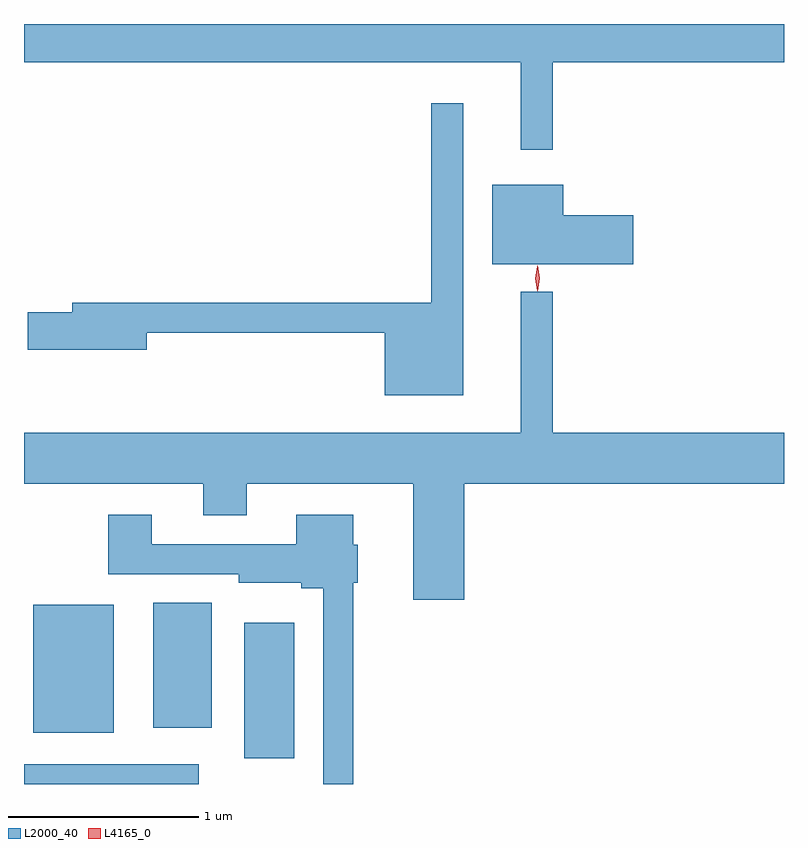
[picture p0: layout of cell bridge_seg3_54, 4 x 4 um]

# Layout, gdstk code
import gdstk
lib = gdstk.Library(unit=1e-6, precision=1e-09)
def R(c, l, rs):  # rectangles x0, y0, x1, y1
    for r in rs: c.add(gdstk.rectangle(r[:2], r[2:], *l))
def P(c, l, *ps):  # polygons
    for p in ps: c.add(gdstk.Polygon(p, *l))
L2000_40 = (2000, 40)
L4165_0 = (4165, 0)

bridge_seg3_54 = lib.new_cell('bridge_seg3_54')
R(bridge_seg3_54, L2000_40, [(1172.067,1206.576,1172.988,1206.679), (1173.226,1206.711,1173.489,1207.424), (1172.116,1206.846,1172.539,1207.519), (1172.746,1206.871,1173.054,1207.529)])
P(bridge_seg3_54, L2000_40, [(1174.849,1210.376),(1176.067,1210.376),(1176.067,1210.576),(1172.067,1210.576),(1172.067,1210.376),(1174.681,1210.376),(1174.681,1209.913),(1174.849,1209.913)],
  [(1174.379,1210.158),(1174.211,1210.158),(1174.211,1209.109),(1172.321,1209.109),(1172.321,1209.059),(1172.086,1209.059),(1172.086,1208.861),(1172.714,1208.861),(1172.714,1208.951),(1173.966,1208.951),(1173.966,1208.621),(1174.379,1208.621)],
  [(1175.274,1209.569),(1174.904,1209.569),(1174.904,1209.729),(1174.531,1209.729),(1174.531,1209.311),(1175.274,1209.311)],
  [(1174.384,1208.156),(1176.067,1208.156),(1176.067,1208.424),(1174.849,1208.424),(1174.849,1209.168),(1174.681,1209.168),(1174.681,1208.424),(1172.067,1208.424),(1172.067,1208.156),(1173.011,1208.156),(1173.011,1207.991),(1173.239,1207.991),(1173.239,1208.156),(1174.116,1208.156),(1174.116,1207.546),(1174.384,1207.546)],
  [(1173.799,1207.636),(1173.824,1207.636),(1173.824,1207.834),(1173.799,1207.834),(1173.799,1207.994),(1173.501,1207.994),(1173.501,1207.839),(1172.739,1207.839),(1172.739,1207.994),(1172.511,1207.994),(1172.511,1207.681),(1173.196,1207.681),(1173.196,1207.636),(1173.526,1207.636),(1173.526,1207.606),(1173.641,1207.606),(1173.641,1206.576),(1173.799,1206.576)])
P(bridge_seg3_54, L4165_0, [(1174.772,1209.17),(1174.772,1209.17),(1174.762,1209.238),(1174.772,1209.305),(1174.772,1209.306),(1174.772,1209.305),(1174.782,1209.238),(1174.772,1209.17)],
  [(1174.768,1209.173),(1174.768,1209.174),(1174.758,1209.236),(1174.768,1209.3),(1174.768,1209.3),(1174.769,1209.3),(1174.778,1209.236),(1174.769,1209.174)])

lib.write_gds('bridge_seg3_54.gds')
